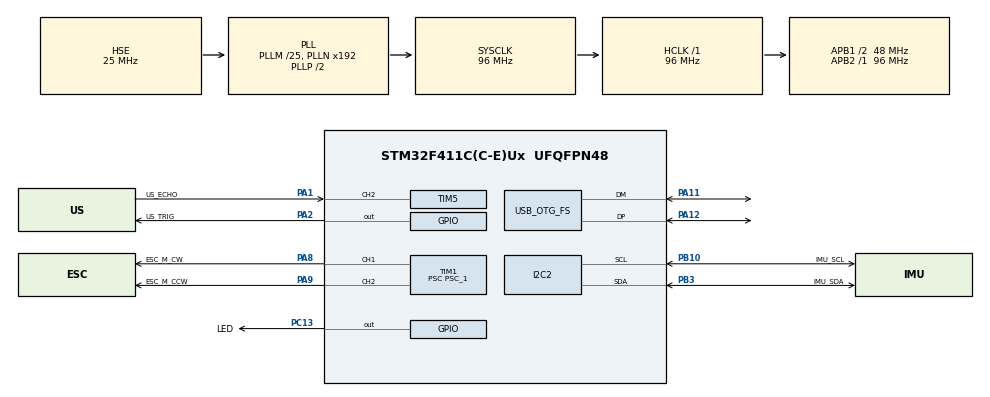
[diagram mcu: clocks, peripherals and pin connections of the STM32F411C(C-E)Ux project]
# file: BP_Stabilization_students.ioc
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Dma.Request0=TIM5_CH2
Dma.TIM5_CH2.0.Direction=DMA_PERIPH_TO_MEMORY
Dma.TIM5_CH2.0.FIFOMode=DMA_FIFOMODE_DISABLE
Dma.TIM5_CH2.0.Instance=DMA1_Stream4
Dma.TIM5_CH2.0.MemDataAlignment=DMA_MDATAALIGN_WORD
Dma.TIM5_CH2.0.MemInc=DMA_MINC_ENABLE
Dma.TIM5_CH2.0.Mode=DMA_NORMAL
Dma.TIM5_CH2.0.PeriphDataAlignment=DMA_PDATAALIGN_WORD
Dma.TIM5_CH2.0.PeriphInc=DMA_PINC_DISABLE
Dma.TIM5_CH2.0.Priority=DMA_PRIORITY_LOW
I2C2.I2C_Mode=I2C_Fast
Mcu.Family=STM32F4
Mcu.Name=STM32F411C(C-E)Ux
Mcu.Package=UFQFPN48
Mcu.UserConstants=PSC_5,96-1;ARR_1,500-1;PSC_11,96-1;PSC_4,1-1;ARR_11,1000-1;ARR_4,9600-1;PSC_1,96-1;PSC_2,96-1
NVIC.DMA1_Stream4_IRQn=true\:0\:0\:false\:false\:true\:false\:true\:true
NVIC.OTG_FS_IRQn=true\:0\:0\:false\:false\:true\:false\:true\:true
NVIC.PriorityGroup=NVIC_PRIORITYGROUP_4
NVIC.TIM1_TRG_COM_TIM11_IRQn=true\:0\:0\:false\:false\:true\:true\:true\:true
NVIC.TIM1_UP_TIM10_IRQn=true\:0\:0\:false\:false\:true\:true\:true\:true
NVIC.TIM5_IRQn=true\:0\:0\:false\:false\:true\:true\:true\:true
PA1.GPIO_Label=US_ECHO
PA1.Signal=S_TIM5_CH2
PA11.Mode=Device_Only
PA11.Signal=USB_OTG_FS_DM
PA12.Mode=Device_Only
PA12.Signal=USB_OTG_FS_DP
PA2.GPIO_Label=US_TRIG
PA2.Signal=GPIO_Output
PA8.GPIO_Label=ESC_M_CW
PA8.Signal=S_TIM1_CH1
PA9.GPIO_Label=ESC_M_CCW
PA9.Signal=S_TIM1_CH2
PB10.GPIO_Label=IMU_SCL
PB10.Mode=I2C
PB10.Signal=I2C2_SCL
PB3.GPIO_Label=IMU_SDA
PB3.Mode=I2C
PB3.Signal=I2C2_SDA
PC13-ANTI_TAMP.GPIO_Label=LED
PC13-ANTI_TAMP.PinState=GPIO_PIN_SET
PC13-ANTI_TAMP.Signal=GPIO_Output
PH0\ -\ OSC_IN.Mode=HSE-External-Oscillator
PH0\ -\ OSC_IN.Signal=RCC_OSC_IN
PH1\ -\ OSC_OUT.Mode=HSE-External-Oscillator
PH1\ -\ OSC_OUT.Signal=RCC_OSC_OUT
ProjectManager.HeapSize=0x200
ProjectManager.StackSize=0x400
ProjectManager.TargetToolchain=STM32CubeIDE
RCC.48MHZClocksFreq_Value=48000000
RCC.AHBFreq_Value=96000000
RCC.APB1CLKDivider=RCC_HCLK_DIV2
RCC.APB1Freq_Value=48000000
RCC.APB1TimFreq_Value=96000000
RCC.APB2Freq_Value=96000000
RCC.APB2TimFreq_Value=96000000
RCC.CortexFreq_Value=96000000
RCC.HCLKFreq_Value=96000000
RCC.HSE_VALUE=25000000
RCC.HSI_VALUE=16000000
RCC.LSE_VALUE=32768
RCC.PLLM=25
RCC.SYSCLKFreq_VALUE=96000000
RCC.SYSCLKSource=RCC_SYSCLKSOURCE_PLLCLK
RCC.VCOOutputFreq_Value=192000000
SH.S_TIM1_CH1.0=TIM1_CH1,PWM Generation1 CH1
SH.S_TIM1_CH2.0=TIM1_CH2,PWM Generation2 CH2
SH.S_TIM5_CH2.0=TIM5_CH2,Input_Capture2_from_TI2
TIM1.Channel-PWM\ Generation1\ CH1=TIM_CHANNEL_1
TIM1.Channel-PWM\ Generation2\ CH2=TIM_CHANNEL_2
TIM1.Period=ARR_1
TIM1.Prescaler=PSC_1
TIM11.Period=ARR_11
TIM11.Prescaler=PSC_11
TIM2.Prescaler=PSC_2
TIM5.Channel-Input_Capture2_from_TI2=TIM_CHANNEL_2
TIM5.ICPolarity_CH2=TIM_INPUTCHANNELPOLARITY_BOTHEDGE
TIM5.Prescaler=PSC_5
USB_DEVICE.CLASS_NAME_FS=CDC
USB_DEVICE.VirtualMode=Cdc
USB_DEVICE.VirtualModeFS=Cdc_FS
USB_OTG_FS.VirtualMode=Device_Only
VP_TIM11_VS_ClockSourceINT.Mode=Enable_Timer
VP_TIM1_VS_ClockSourceINT.Mode=Internal
VP_TIM2_VS_ClockSourceINT.Mode=Internal
VP_TIM5_VS_ClockSourceINT.Mode=Internal
VP_USB_DEVICE_VS_USB_DEVICE_CDC_FS.Mode=CDC_FS
board=custom

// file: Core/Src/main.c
/* USER CODE BEGIN Header */
/**
  ******************************************************************************
  * @file           : main.c
  * @brief          : Main program body
  ******************************************************************************
  * @attention
  *
  * Copyright (c) 2025 STMicroelectronics.
  * All rights reserved.
  *
  * This software is licensed under terms that can be found in the LICENSE file
  * in the root directory of this software component.
  * If no LICENSE file comes with this software, it is provided AS-IS.
  *
  ******************************************************************************
  */
/* USER CODE END Header */
#include "main.h"
#include "dma.h"
#include "i2c.h"
#include "tim.h"
#include "usb_device.h"
#include "gpio.h"

/* USER CODE BEGIN Includes */
#include "usbd_cdc_if.h"
#include <string.h>
#include <stdio.h>

#include "ultrasonic_sensor.h"
#include "imu.h"
#include "usb.h"
#include "motor.h"
#include "pid.h"
#include "control.h"
/* USER CODE END Includes */

/* USER CODE BEGIN PV */
//Timer loop
volatile uint16_t cpt_led_loop = 0;
volatile uint8_t led_loop = 0;

volatile uint16_t cpt_print_loop = 0;
volatile uint8_t print_loop = 0;

volatile uint16_t cpt_us_loop = 0;
volatile uint8_t us_loop = 0;

volatile uint16_t cpt_imu_loop = 0;
volatile uint8_t imu_loop = 0;

//USB
extern usb_packet_t usb_pkt;

//Ultrasonic sensor
extern uint8_t us_data_ready;
extern uint32_t us_dma_buffer[2];
extern float us_dist;
extern uint32_t us_pulse_width;

//IMU
extern imu_raw_data_t imu_raw;
extern imu_scaled_data_t imu_scaled;
extern imu_attitude_t drone_att;

//Control
extern pid_t pid_roll;
extern pid_t pid_alt;
extern control_inputs_t control_inputs;
extern uint8_t control_state;

//Motors
esc_commands_t esc_cmd;
/* USER CODE END PV */

void SystemClock_Config(void);
/* USER CODE BEGIN PFP */
void parse_usb_data();

/* USER CODE END PFP */

/* USER CODE BEGIN 0 */
int _write(int file, char *ptr, int len) {
    CDC_Transmit_FS((uint8_t*)ptr, len);
    return len;
}
/* USER CODE END 0 */

int main(void)
{

  /* MCU Configuration--------------------------------------------------------*/

  /* Reset of all peripherals, Initializes the Flash interface and the Systick. */
  HAL_Init();

  /* Configure the system clock */
  SystemClock_Config();

  /* Initialize all configured peripherals */
  MX_GPIO_Init();
  MX_DMA_Init();
  MX_USB_DEVICE_Init();
  MX_TIM11_Init();
  MX_TIM1_Init();
  MX_TIM5_Init();
  MX_TIM2_Init();
  MX_I2C2_Init();
  /* USER CODE BEGIN 2 */
  //Start Timers
  HAL_TIM_Base_Start_IT(&htim11);	//Start Timer with IT to call HAL_TIM_PeriodElapsedCallback function
  HAL_TIM_Base_Start(&htim2);	//Start Timer 2 to use the delay_us function

  //Motors initialization
  motors_init();
  pid_init(&pid_roll);
  pid_init(&pid_alt);

  //Make sure the US trigger pin is at LOW
  HAL_GPIO_WritePin(US_TRIG_GPIO_Port, US_TRIG_Pin, GPIO_PIN_RESET);

  //Start Input Capture for US
  HAL_TIM_IC_Start_DMA(&htim5, TIM_CHANNEL_2, us_dma_buffer, 2);

  //Initialize IMU
  if(!imu_init()){
	  while(1){
		  printf("MPU6050 addr not correct!\n");
		  HAL_Delay(1000);
	  }
  }
  /* USER CODE END 2 */

  /* Infinite loop */
  /* USER CODE BEGIN WHILE */
  while (1)
  {
	  if(usb_pkt.len > 0){
		  usb_process_packet(usb_pkt, &pid_roll, &pid_alt);
		  usb_pkt.len = 0;
	  }

	  if(print_loop){
		  //printf("Propagation time: %lu us\n", us_pulse_width);
		  //printf("Dist: %.1f cm\n", us_dist);

		  //printf("Accel scaled: %.2f\t %.2f\t %.2f\t\n", imu_scaled.accel_x, imu_scaled.accel_y, imu_scaled.accel_z);
		  //printf("Gyro scaled: %.2f\t %.2f\t %.2f\t\n", imu_scaled.gyro_x, imu_scaled.gyro_y, imu_scaled.gyro_z);
		  //printf("Attitude: %.2f\t %.2f\t %.2f\t %.2f\t %.2f\t %.2f\n", drone_att.roll, drone_att.pitch, drone_att.yaw, drone_att.roll_rate, drone_att.pitch_rate, drone_att.yaw_rate);
		  float roll_deg = drone_att.roll;
		  float altitude_cm = us_dist * cosf(drone_att.roll * M_PI / 180) * cosf(drone_att.pitch * M_PI / 180); //US measures slant distance; project onto vertical using tilt
		  uint16_t motor_cw_ccr = (uint16_t)TIM1->CCR1;  //CW motor OneShot125 pulse width, in timer ticks (~us)
		  uint16_t motor_ccw_ccr = (uint16_t)TIM1->CCR2; //CCW motor OneShot125 pulse width, in timer ticks (~us)
		  float thrust_cmd_U1 = control_inputs.U1;
		  float torque_cmd_U2 = control_inputs.U2;
		  float alt_pid_integral = pid_alt.integral;

		  printf("roll_deg=%.2f \t alt_cm=%.1f \t cw=%d ccw=%d U1=%.2f U2=%.2f alt_pid_integral=%.2f\n", roll_deg, altitude_cm, motor_cw_ccr, motor_ccw_ccr, thrust_cmd_U1, torque_cmd_U2, alt_pid_integral);
		  print_loop = 0;
	  }

	  if(led_loop){
		  HAL_GPIO_TogglePin(LED_GPIO_Port, LED_Pin);
		  led_loop = 0;
	  }

	  if(us_loop){
		  us_enable_trigger();
		  us_loop = 0;
	  }

	  if(us_data_ready){
		  us_compute_distance();
		  HAL_TIM_IC_Start_DMA(&htim5, TIM_CHANNEL_2, us_dma_buffer, 2);	//Restart input-capture
		  us_data_ready = 0;
	  }

	  if(imu_loop){
		  //read scaled imu data
		  imu_read_scaled_data(&imu_scaled);

		  //update drone's attitude
		  imu_update_attitude(&drone_att, imu_scaled);

		  if(control_state == FLYING){
			  //Compute U1 and U2
			  control_update(drone_att, us_dist*cosf(drone_att.roll*M_PI/180)*cosf(drone_att.pitch*M_PI/180), &control_inputs);

			  //motor mixer
			  control_apply_mixer(control_inputs, &esc_cmd);

			  //esc commands
			  motors_set_command(esc_cmd);
		  }
		  imu_loop = 0;
	  }
    /* USER CODE END WHILE */

  }
}

void SystemClock_Config(void)
{
  RCC_OscInitTypeDef RCC_OscInitStruct = {0};
  RCC_ClkInitTypeDef RCC_ClkInitStruct = {0};

  /** Configure the main internal regulator output voltage
  */
  __HAL_RCC_PWR_CLK_ENABLE();
  __HAL_PWR_VOLTAGESCALING_CONFIG(PWR_REGULATOR_VOLTAGE_SCALE1);

  /** Initializes the RCC Oscillators according to the specified parameters
  * in the RCC_OscInitTypeDef structure.
  */
  RCC_OscInitStruct.OscillatorType = RCC_OSCILLATORTYPE_HSE;
  RCC_OscInitStruct.HSEState = RCC_HSE_ON;
  RCC_OscInitStruct.PLL.PLLState = RCC_PLL_ON;
  RCC_OscInitStruct.PLL.PLLSource = RCC_PLLSOURCE_HSE;
  RCC_OscInitStruct.PLL.PLLM = 25;
  RCC_OscInitStruct.PLL.PLLN = 192;
  RCC_OscInitStruct.PLL.PLLP = RCC_PLLP_DIV2;
  RCC_OscInitStruct.PLL.PLLQ = 4;
  if (HAL_RCC_OscConfig(&RCC_OscInitStruct) != HAL_OK)
  {
    Error_Handler();
  }

  /** Initializes the CPU, AHB and APB buses clocks
  */
  RCC_ClkInitStruct.ClockType = RCC_CLOCKTYPE_HCLK|RCC_CLOCKTYPE_SYSCLK
                              |RCC_CLOCKTYPE_PCLK1|RCC_CLOCKTYPE_PCLK2;
  RCC_ClkInitStruct.SYSCLKSource = RCC_SYSCLKSOURCE_PLLCLK;
  RCC_ClkInitStruct.AHBCLKDivider = RCC_SYSCLK_DIV1;
  RCC_ClkInitStruct.APB1CLKDivider = RCC_HCLK_DIV2;
  RCC_ClkInitStruct.APB2CLKDivider = RCC_HCLK_DIV1;

  if (HAL_RCC_ClockConfig(&RCC_ClkInitStruct, FLASH_LATENCY_3) != HAL_OK)
  {
    Error_Handler();
  }
}

/* USER CODE BEGIN 4 */
/**
 * @brief This function is called automatically when a Timer overflows (period elapsed)
 * @param htim: Pointer to the Timer handler that identifies which Timer triggered the callback
 */
void HAL_TIM_PeriodElapsedCallback(TIM_HandleTypeDef *htim){
	if(htim->Instance == TIM11){	//If Timer 11 triggered the interrupt (@1kHz)
		cpt_led_loop++;
		cpt_print_loop++;
		cpt_us_loop++;
		cpt_imu_loop++;

		if(cpt_led_loop >= 500){	//LED blink @2Hz
			led_loop = 1;
			cpt_led_loop = 0;
		}

		if(cpt_print_loop >= 100){	//Print loop @10Hz
			print_loop = 1;
			cpt_print_loop = 0;
		}

		if(cpt_us_loop >= 50){	//US loop @20Hz
			us_loop = 1;
			cpt_us_loop = 0;
		}

		if(cpt_imu_loop >= 1){	//IMU loop @1kHz
			imu_loop = 1;
			cpt_imu_loop = 0;
		}
	}
}

/**
 * @brief This function is automatically called when the DMA finishes to store both rising and falling for TIM5_CH2 in input capture mode
 * @note Make sure to set the polarity selection (On CubeMX) to "Both Edges" and enable DMA in Normal mode
 * @param htim: Pointer to the Timer handler that identifies which Timer triggered the callback
 *
 */
void HAL_TIM_IC_CaptureCallback(TIM_HandleTypeDef *htim){
	if(htim->Instance == TIM5){
		if(htim->Channel == HAL_TIM_ACTIVE_CHANNEL_2)	//If TIM5_CH2 triggered this callback function
			us_data_ready = 1;
	}
}

/**
 * @brief This function stops the program for a specific number of microseconds
 * @param us_duration: Number of microseconds the program should be blocked
 */
void delay_us(uint32_t us_duration){
	__HAL_TIM_SET_COUNTER(&htim2, 0);	//reset the counter of TIM2
	uint32_t start = __HAL_TIM_GET_COUNTER(&htim2);
	while((__HAL_TIM_GET_COUNTER(&htim2) - start) < us_duration);
}

uint16_t clamp(uint16_t val, uint16_t v_min, uint16_t v_max){
	if(val > v_max)
		return v_max;
	else if(val < v_min)
		return v_min;
	return val;
}

/**
 * @brief Make sure a value is within a specific range.
 * @note Input is a float.
 * @param val Input value.
 * @param v_min Expected minimum value.
 * @param v_max Expectd maximum value.
 * @retval float storing the new value.
 */
float clampf(float val, float v_min, float v_max){
	return fmax(fmin(val, v_max), v_min);
}

/**
 * @brief Map uint16_t input from one range to another.
 * @param x Value to map.
 * @param i_min Minimum value of the input.
 * @param i_max Maximum value of the input.
 * @param o_min Minimum value in the new range.
 * @param o_max Maximum value in the new range.
 * @retval uint16_t storing the new value.
 */
uint16_t map_uint16(uint16_t x, uint16_t i_min, uint16_t i_max, uint16_t o_min, uint16_t o_max){
	return (x - i_min) * (o_max - o_min) / (i_max - i_min) + o_min;
}
/* USER CODE END 4 */

void Error_Handler(void)
{
  __disable_irq();
  while (1)
  {
  }
}
